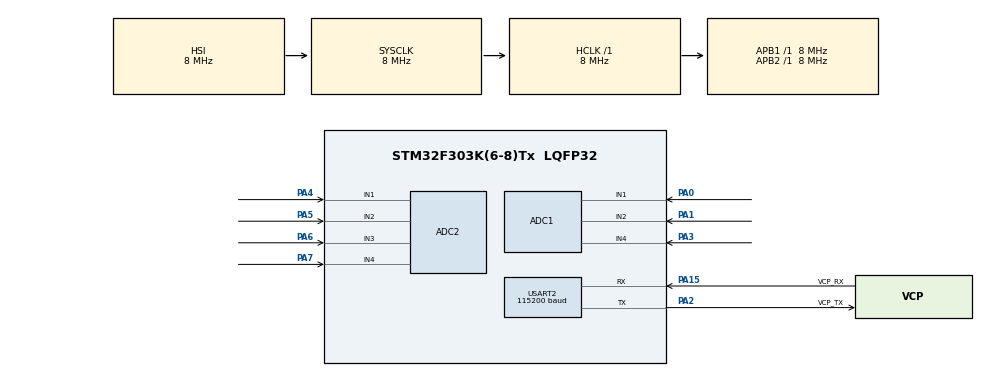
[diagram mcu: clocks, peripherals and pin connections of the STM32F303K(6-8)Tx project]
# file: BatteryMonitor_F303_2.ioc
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ADC1.Channel-0\#ChannelRegularConversion=ADC_CHANNEL_2
ADC1.ClockPrescaler=ADC_CLOCK_SYNC_PCLK_DIV4
ADC1.NbrOfConversionFlag=1
ADC1.Offset-0\#ChannelRegularConversion=0
ADC1.OffsetNumber-0\#ChannelRegularConversion=ADC_OFFSET_NONE
ADC1.Rank-0\#ChannelRegularConversion=1
ADC1.SamplingTime-0\#ChannelRegularConversion=ADC_SAMPLETIME_181CYCLES_5
ADC1.SubFamily=STM32F303x8
ADC1.master=1
ADC2.Channel-0\#ChannelRegularConversion=ADC_CHANNEL_1
ADC2.ClockPrescaler=ADC_CLOCK_SYNC_PCLK_DIV4
ADC2.NbrOfConversionFlag=1
ADC2.Offset-0\#ChannelRegularConversion=0
ADC2.OffsetNumber-0\#ChannelRegularConversion=ADC_OFFSET_NONE
ADC2.Rank-0\#ChannelRegularConversion=1
ADC2.SamplingTime-0\#ChannelRegularConversion=ADC_SAMPLETIME_181CYCLES_5
ADC2.SubFamily=STM32F303x8
Mcu.Family=STM32F3
Mcu.Name=STM32F303K(6-8)Tx
Mcu.Package=LQFP32
NVIC.ADC1_2_IRQn=true\:0\:0\:false\:false\:true\:true\:true\:true
NVIC.PriorityGroup=NVIC_PRIORITYGROUP_4
PA0.Mode=IN1-Single-Ended
PA0.Signal=ADC1_IN1
PA1.Mode=IN2-Single-Ended
PA1.Signal=ADC1_IN2
PA13.GPIO_Label=SWDIO
PA13.Mode=Serial_Wire
PA13.Signal=SYS_JTMS-SWDIO
PA14.GPIO_Label=SWCLK
PA14.Mode=Serial_Wire
PA14.Signal=SYS_JTCK-SWCLK
PA15.GPIO_Label=VCP_RX
PA15.Mode=Asynchronous
PA15.Signal=USART2_RX
PA2.GPIO_Label=VCP_TX
PA2.Mode=Asynchronous
PA2.Signal=USART2_TX
PA3.Mode=IN4-Single-Ended
PA3.Signal=ADC1_IN4
PA4.Mode=IN1-Single-Ended
PA4.Signal=ADC2_IN1
PA5.Mode=IN2-Single-Ended
PA5.Signal=ADC2_IN2
PA6.Mode=IN3-Single-Ended
PA6.Signal=ADC2_IN3
PA7.Mode=IN4-Single-Ended
PA7.Signal=ADC2_IN4
PF0\ /\ OSC_IN.GPIO_Label=MCO
PF0\ /\ OSC_IN.Mode=HSE-External-Clock-Source
PF0\ /\ OSC_IN.Signal=RCC_OSC_IN
ProjectManager.HeapSize=0x200
ProjectManager.StackSize=0x400
ProjectManager.TargetToolchain=STM32CubeIDE
RCC.AHBFreq_Value=8000000
RCC.APB1Freq_Value=8000000
RCC.APB1TimFreq_Value=8000000
RCC.APB2Freq_Value=8000000
RCC.APB2TimFreq_Value=8000000
RCC.CortexFreq_Value=8000000
RCC.HCLKFreq_Value=8000000
RCC.HSE_VALUE=32000000
RCC.HSI_VALUE=8000000
RCC.PLLMUL=RCC_PLL_MUL4
RCC.SYSCLKFreq_VALUE=8000000
USART2.BaudRate=115200
USART2.VirtualMode-Asynchronous=VM_ASYNC
VP_TIM2_VS_ClockSourceINT.Mode=Internal
board=NUCLEO-F303K8

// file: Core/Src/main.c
/* USER CODE BEGIN Header */
/**
  ******************************************************************************
  * @file           : main.c
  * @brief          : Main program body
  ******************************************************************************
  * @attention
  *
  * Copyright (c) 2023 STMicroelectronics.
  * All rights reserved.
  *
  * This software is licensed under terms that can be found in the LICENSE file
  * in the root directory of this software component.
  * If no LICENSE file comes with this software, it is provided AS-IS.
  *
  ******************************************************************************
  */
/* USER CODE END Header */
#include "main.h"
#include "adc.h"
#include "tim.h"
#include "usart.h"
#include "gpio.h"

/* USER CODE BEGIN Includes */
#include <math.h>
#include <stdio.h>
#include <string.h>
#include <inttypes.h>
/* USER CODE END Includes */

/* USER CODE BEGIN PV */
ADC_HandleTypeDef* hADC[7] = {&hadc1, &hadc1, &hadc1, &hadc2, &hadc2, &hadc2, &hadc2};

double tensioni[7];			//Dove inserisco le tensioni medie dei vari canali
double temperature[7];
uint32_t conversione=0;
uint32_t sommaConversioni = 0;
double mediaConversioni = 0;
uint8_t output[1024];
uint8_t* pOutput = (uint8_t*) &output;
/* USER CODE END PV */

void SystemClock_Config(void);
/* USER CODE BEGIN PFP */
#define PUTCHAR_PROTOTYPE int __io_putchar(int ch)
double interpolazione (const double *v);
/* USER CODE END PFP */

int main(void)
{

  /* MCU Configuration--------------------------------------------------------*/

  /* Reset of all peripherals, Initializes the Flash interface and the Systick. */
  HAL_Init();

  /* Configure the system clock */
  SystemClock_Config();

  /* Initialize all configured peripherals */
  MX_GPIO_Init();
  MX_USART2_UART_Init();
  MX_ADC1_Init();
  MX_ADC2_Init();
  MX_TIM2_Init();
  /* USER CODE BEGIN 2 */
  HAL_TIM_Base_Start(&htim2);
  __HAL_TIM_SetCounter(&htim2, 0);
  /* USER CODE END 2 */

  /* Infinite loop */
  /* USER CODE BEGIN WHILE */
  while (1)
  {

	  for (int k = 0; k < 7; k++)
	  {
		  for (int i = 0; i<100; i++)	// 100 conversioni per canale
		  {
			  HAL_ADC_Start(hADC[k]);
			  HAL_ADC_PollForConversion(hADC[k], HAL_MAX_DELAY);
			  conversione = HAL_ADC_GetValue(hADC[k]);
			  sommaConversioni += conversione;
		  }

		  mediaConversioni = (double)sommaConversioni / (double)1000;
		  tensioni[k] = (mediaConversioni * 3.3) / 4095;
		  }

		  // Converto i valori del vettore tensioni in valori da inserire nel vettore temperature
		  for (int j = 0; j < 7; j++)
		  {
			  temperature[j] = interpolazione(&tensioni[j]);
		  }

		  // Attendo il trascorrere mezzo secondo (freq. tim1 = 8MHz)
		  while (__HAL_TIM_GetCounter(&htim2) < 4000000);
		  __HAL_TIM_SetCounter(&htim2, 0);

		  // Stampo l'array
		  snprintf((char*)pOutput, sizeof(output), "%f,%f,%f,%f,%f,%f,%f\r\n",
				  temperature[0], temperature[1], temperature[2], temperature[3], temperature[4], temperature[5], temperature[6]);

		//	  snprintf((char*)pOutput, sizeof(output), "%f,%f,%f,%f,%f,%f,%f\r\n",
		//	  			  tensioni[0], tensioni[1], tensioni[2], tensioni[3], tensioni[4], tensioni[5], tensioni[6]);
		  HAL_UART_Transmit(&huart2, pOutput,strlen((char*)output), HAL_MAX_DELAY);

    /* USER CODE END WHILE */

  }
}

void SystemClock_Config(void)
{
  RCC_OscInitTypeDef RCC_OscInitStruct = {0};
  RCC_ClkInitTypeDef RCC_ClkInitStruct = {0};

  /** Initializes the RCC Oscillators according to the specified parameters
  * in the RCC_OscInitTypeDef structure.
  */
  RCC_OscInitStruct.OscillatorType = RCC_OSCILLATORTYPE_HSI;
  RCC_OscInitStruct.HSIState = RCC_HSI_ON;
  RCC_OscInitStruct.HSICalibrationValue = RCC_HSICALIBRATION_DEFAULT;
  RCC_OscInitStruct.PLL.PLLState = RCC_PLL_NONE;
  if (HAL_RCC_OscConfig(&RCC_OscInitStruct) != HAL_OK)
  {
    Error_Handler();
  }

  /** Initializes the CPU, AHB and APB buses clocks
  */
  RCC_ClkInitStruct.ClockType = RCC_CLOCKTYPE_HCLK|RCC_CLOCKTYPE_SYSCLK
                              |RCC_CLOCKTYPE_PCLK1|RCC_CLOCKTYPE_PCLK2;
  RCC_ClkInitStruct.SYSCLKSource = RCC_SYSCLKSOURCE_HSI;
  RCC_ClkInitStruct.AHBCLKDivider = RCC_SYSCLK_DIV1;
  RCC_ClkInitStruct.APB1CLKDivider = RCC_HCLK_DIV1;
  RCC_ClkInitStruct.APB2CLKDivider = RCC_HCLK_DIV1;

  if (HAL_RCC_ClockConfig(&RCC_ClkInitStruct, FLASH_LATENCY_0) != HAL_OK)
  {
    Error_Handler();
  }
}

/* USER CODE BEGIN 4 */
double interpolazione (const double *v)
{
	double p1 = -616.9209;
	double p2 = 5.8773e+03;
	double p3 = -2.2351e+04;
	double p4 = 4.2418e+04;
	double p5 = -4.0250e+04;
	double p6 = 1.5358e+04;

	double temperatura = p1*pow(*v,5)+ p2*pow(*v,4) + p3*pow(*v,3) + p4*pow(*v,2) + p5*(*v) + p6;
	return temperatura;
}

PUTCHAR_PROTOTYPE
{
  HAL_UART_Transmit(&huart2, (uint8_t *)&ch, 1, 0xFFFF);
  return ch;
}
/* USER CODE END 4 */

void Error_Handler(void)
{
  __disable_irq();
  while (1)
  {
  }
}
